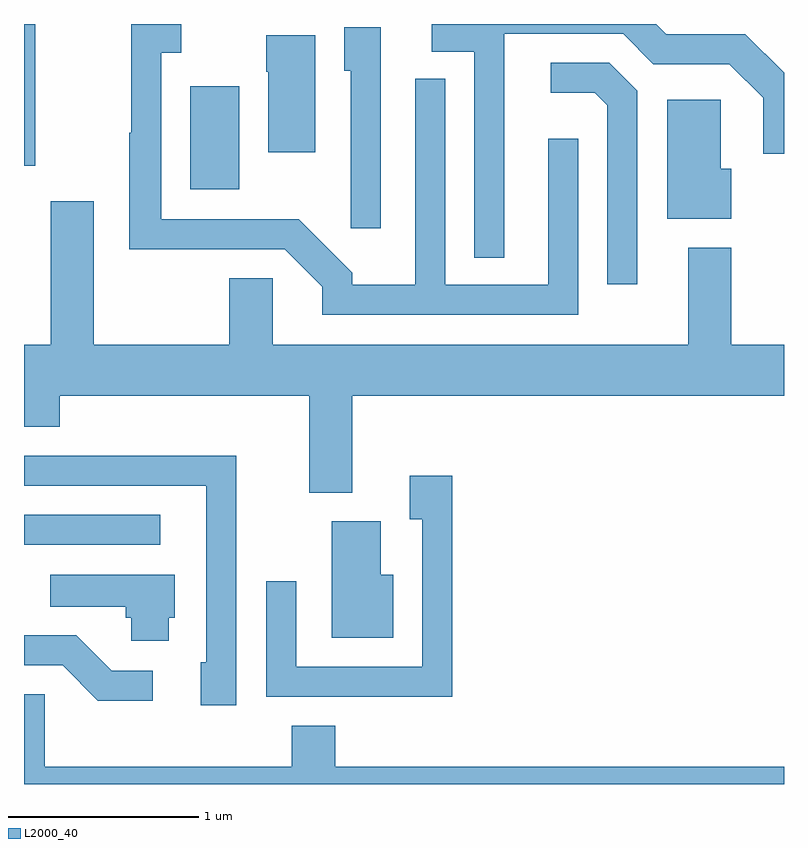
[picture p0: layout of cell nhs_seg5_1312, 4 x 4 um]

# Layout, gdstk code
import gdstk
lib = gdstk.Library(unit=1e-6, precision=1e-09)
def R(c, l, rs):  # rectangles x0, y0, x1, y1
    for r in rs: c.add(gdstk.rectangle(r[:2], r[2:], *l))
def P(c, l, *ps):  # polygons
    for p in ps: c.add(gdstk.Polygon(p, *l))
L2000_40 = (2000, 40)

nhs_seg5_1312 = lib.new_cell('nhs_seg5_1312')
R(nhs_seg5_1312, L2000_40, [(223.611,1469.331,224.328,1469.489), (224.486,1471.201,224.744,1471.744), (223.611,1471.326,223.669,1472.072)])
P(nhs_seg5_1312, L2000_40, [(226.529,1471.468),(226.371,1471.468),(226.371,1470.699),(225.829,1470.699),(225.829,1471.783),(225.671,1471.783),(225.671,1470.699),(225.339,1470.699),(225.339,1470.762),(225.057,1471.044),(224.334,1471.044),(224.334,1471.921),(224.438,1471.921),(224.438,1472.072),(224.176,1472.072),(224.176,1471.5),(224.166,1471.5),(224.166,1470.886),(224.984,1470.886),(225.181,1470.689),(225.181,1470.541),(226.529,1470.541)],
  [(226.139,1472.021),(226.764,1472.021),(226.924,1471.861),(227.324,1471.861),(227.501,1471.684),(227.501,1471.388),(227.611,1471.388),(227.611,1471.815),(227.407,1472.019),(226.992,1472.019),(226.939,1472.072),(225.756,1472.072),(225.756,1471.926),(225.981,1471.926),(225.981,1470.843),(226.139,1470.843)],
  [(225.489,1472.054),(225.296,1472.054),(225.296,1471.826),(225.331,1471.826),(225.331,1470.998),(225.489,1470.998)],
  [(225.144,1472.014),(224.886,1472.014),(224.886,1471.82),(224.896,1471.82),(224.896,1471.396),(225.144,1471.396)],
  [(226.839,1471.722),(226.692,1471.869),(226.383,1471.869),(226.383,1471.711),(226.614,1471.711),(226.681,1471.644),(226.681,1470.703),(226.839,1470.703)],
  [(227.334,1471.309),(227.279,1471.309),(227.279,1471.674),(226.996,1471.674),(226.996,1471.046),(227.334,1471.046)],
  [(225.339,1470.116),(227.611,1470.116),(227.611,1470.384),(227.334,1470.384),(227.334,1470.894),(227.106,1470.894),(227.106,1470.384),(224.919,1470.384),(224.919,1470.734),(224.691,1470.734),(224.691,1470.384),(223.979,1470.384),(223.979,1471.139),(223.751,1471.139),(223.751,1470.384),(223.611,1470.384),(223.611,1469.951),(223.799,1469.951),(223.799,1470.116),(225.111,1470.116),(225.111,1469.606),(225.339,1469.606)],
  [(224.729,1469.799),(223.611,1469.799),(223.611,1469.641),(224.571,1469.641),(224.571,1468.714),(224.541,1468.714),(224.541,1468.486),(224.729,1468.486)],
  [(225.864,1469.694),(225.641,1469.694),(225.641,1469.466),(225.706,1469.466),(225.706,1468.689),(225.044,1468.689),(225.044,1469.138),(224.886,1469.138),(224.886,1468.531),(225.864,1468.531)],
  [(225.554,1469.174),(225.489,1469.174),(225.489,1469.454),(225.231,1469.454),(225.231,1468.841),(225.554,1468.841)],
  [(224.374,1468.946),(224.404,1468.946),(224.404,1469.174),(223.748,1469.174),(223.748,1469.006),(224.146,1469.006),(224.146,1468.946),(224.176,1468.946),(224.176,1468.826),(224.374,1468.826)],
  [(224.288,1468.669),(224.072,1468.669),(223.887,1468.854),(223.611,1468.854),(223.611,1468.696),(223.814,1468.696),(223.999,1468.511),(224.288,1468.511)],
  [(227.611,1468.164),(225.249,1468.164),(225.249,1468.379),(225.021,1468.379),(225.021,1468.164),(223.719,1468.164),(223.719,1468.544),(223.611,1468.544),(223.611,1468.072),(227.611,1468.072)])

lib.write_gds('nhs_seg5_1312.gds')
